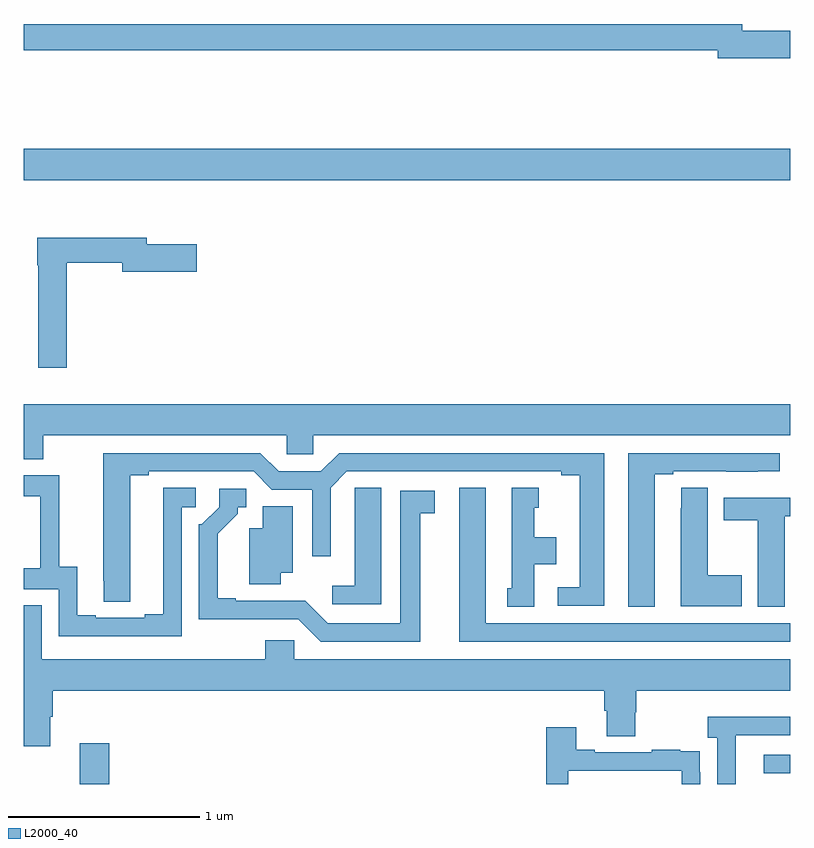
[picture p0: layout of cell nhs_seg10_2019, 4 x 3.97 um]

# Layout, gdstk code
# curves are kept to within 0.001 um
import gdstk
lib = gdstk.Library(unit=1e-6, precision=1e-09)
def R(c, l, rs):  # rectangles x0, y0, x1, y1
    for r in rs: c.add(gdstk.rectangle(r[:2], r[2:], *l))
def P(c, l, *ps):  # polygons
    for p in ps: c.add(gdstk.Polygon(p, *l))
L2000_40 = (2000, 40)

nhs_seg10_2019 = lib.new_cell('nhs_seg10_2019')
R(nhs_seg10_2019, L2000_40, [(217.291,1294.5,217.445,1294.714), (220.863,1294.557,221,1294.653), (217,1297.652,221,1297.816)])
P(nhs_seg10_2019, L2000_40, [(221,1298.432),(220.75,1298.432),(220.75,1298.468),(217,1298.468),(217,1298.332),(220.622,1298.332),(220.622,1298.29),(221,1298.29)],
  [(217.223,1297.222),(217.514,1297.222),(217.514,1297.175),(217.903,1297.175),(217.903,1297.317),(217.642,1297.317),(217.642,1297.351),(217.069,1297.351),(217.069,1297.208),(217.076,1297.208),(217.076,1296.672),(217.223,1296.672)],
  [(217.101,1296.32),(218.373,1296.32),(218.373,1296.222),(218.511,1296.222),(218.511,1296.32),(221,1296.32),(221,1296.484),(217,1296.484),(217,1296.196),(217.101,1296.196)],
  [(220.294,1296.117),(220.39,1296.117),(220.39,1296.132),(220.666,1296.132),(220.666,1296.131),(220.832,1296.131),(220.832,1296.132),(220.945,1296.132),(220.945,1296.228),(220.154,1296.228),(220.154,1295.425),(220.294,1295.425)],
  [(220.03,1296.228),(218.645,1296.228),(218.549,1296.132),(218.331,1296.132),(218.235,1296.228),(217.415,1296.228),(217.416,1295.452),(217.555,1295.452),(217.555,1296.112),(217.651,1296.112),(217.651,1296.132),(218.199,1296.132),(218.295,1296.036),(218.505,1296.036),(218.505,1295.688),(218.601,1295.688),(218.601,1296.048),(218.685,1296.132),(219.806,1296.132),(219.806,1296.112),(219.902,1296.112),(219.902,1295.526),(219.786,1295.526),(219.786,1295.43),(220.03,1295.43)],
  [(217.824,1295.946),(217.897,1295.946),(217.897,1296.047),(217.727,1296.047),(217.727,1295.387),(217.631,1295.387),(217.631,1295.367),(217.375,1295.367),(217.375,1295.382),(217.279,1295.382),(217.279,1295.633),(217.185,1295.633),(217.185,1296.111),(217,1296.111),(217,1296.003),(217.085,1296.003),(217.085,1295.626),(217,1295.626),(217,1295.517),(217.182,1295.517),(217.182,1295.271),(217.824,1295.271)],
  [(218.866,1296.047),(218.727,1296.047),(218.727,1295.939),(218.726,1295.939),(218.726,1295.536),(218.61,1295.536),(218.61,1295.439),(218.866,1295.439)],
  [(220.747,1295.589),(220.57,1295.589),(220.57,1296.047),(220.431,1296.047),(220.431,1295.939),(220.43,1295.939),(220.43,1295.429),(220.747,1295.429)],
  [(219.664,1295.648),(219.778,1295.648),(219.778,1295.788),(219.664,1295.788),(219.664,1295.943),(219.688,1295.943),(219.688,1296.046),(219.548,1296.046),(219.548,1295.523),(219.524,1295.523),(219.524,1295.425),(219.664,1295.425)],
  [(221,1295.34),(219.412,1295.34),(219.412,1296.046),(219.272,1296.046),(219.272,1295.244),(221,1295.244)],
  [(219.07,1295.914),(219.145,1295.914),(219.145,1296.03),(218.966,1296.03),(218.966,1295.34),(218.586,1295.34),(218.468,1295.458),(218.107,1295.457),(218.107,1295.47),(218.011,1295.47),(218.011,1295.806),(218.116,1295.911),(218.116,1295.946),(218.161,1295.946),(218.161,1296.042),(218.019,1296.042),(218.019,1295.946),(217.929,1295.856),(217.914,1295.856),(217.914,1295.36),(218.433,1295.361),(218.55,1295.244),(219.07,1295.244)],
  [(220.971,1295.536),(220.972,1295.536),(220.972,1295.898),(221,1295.898),(221,1295.994),(220.655,1295.994),(220.655,1295.878),(220.832,1295.878),(220.832,1295.425),(220.971,1295.425)],
  [(218.341,1295.603),(218.404,1295.603),(218.404,1295.951),(218.246,1295.951),(218.246,1295.836),(218.177,1295.836),(218.177,1295.542),(218.341,1295.542)],
  [(217,1295.432),(217,1294.698),(217.138,1294.698),(217.138,1294.851),(217.151,1294.851),(217.151,1294.988),(220.031,1294.988),(220.031,1294.882),(220.043,1294.882),(220.043,1294.75),(220.191,1294.75),(220.191,1294.875),(220.196,1294.875),(220.196,1294.988),(221,1294.988),(221,1295.152),(218.412,1295.152),(218.412,1295.25),(218.261,1295.25),(218.261,1295.152),(217.093,1295.152),(217.093,1295.432)],
  [(220.716,1294.555),(220.717,1294.555),(220.717,1294.755),(221,1294.755),(221,1294.852),(220.569,1294.852),(220.569,1294.742),(220.62,1294.742),(220.62,1294.5),(220.716,1294.5)],
  [(219.843,1294.569),(220.434,1294.569),(220.434,1294.5),(220.53,1294.5),(220.53,1294.562),(220.529,1294.562),(220.529,1294.671),(220.427,1294.671),(220.427,1294.678),(220.279,1294.678),(220.279,1294.665),(219.979,1294.665),(219.979,1294.678),(219.883,1294.678),(219.883,1294.795),(219.727,1294.795),(219.727,1294.5),(219.843,1294.5)])

lib.write_gds('nhs_seg10_2019.gds')
